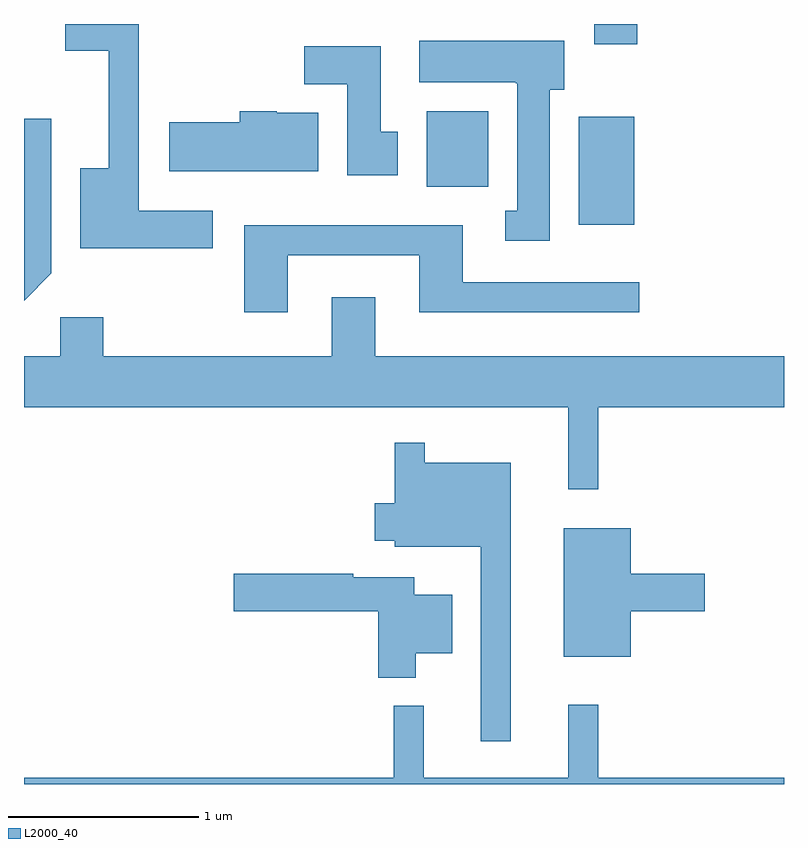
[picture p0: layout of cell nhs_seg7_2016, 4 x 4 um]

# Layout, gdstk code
import gdstk
lib = gdstk.Library(unit=1e-6, precision=1e-09)
def R(c, l, rs):  # rectangles x0, y0, x1, y1
    for r in rs: c.add(gdstk.rectangle(r[:2], r[2:], *l))
def P(c, l, *ps):  # polygons
    for p in ps: c.add(gdstk.Polygon(p, *l))
L2000_40 = (2000, 40)

nhs_seg7_2016 = lib.new_cell('nhs_seg7_2016')
R(nhs_seg7_2016, L2000_40, [(248.531,1795.196,248.824,1795.764), (247.731,1795.396,248.054,1795.794), (248.611,1796.146,248.839,1796.252)])
P(nhs_seg7_2016, L2000_40, [(246.604,1795.269),(246.214,1795.269),(246.214,1796.252),(245.828,1796.252),(245.828,1796.111),(246.056,1796.111),(246.056,1795.494),(245.906,1795.494),(245.906,1795.071),(246.604,1795.071)],
  [(248.379,1795.906),(248.454,1795.906),(248.454,1796.164),(247.691,1796.164),(247.691,1795.946),(248.2,1795.946),(248.2,1795.94),(248.206,1795.94),(248.206,1795.269),(248.143,1795.269),(248.143,1795.111),(248.379,1795.111)],
  [(247.579,1795.684),(247.489,1795.684),(247.489,1796.134),(247.086,1796.134),(247.086,1795.936),(247.311,1795.936),(247.311,1795.456),(247.579,1795.456)],
  [(247.159,1795.784),(246.94,1795.784),(246.94,1795.794),(246.746,1795.794),(246.746,1795.734),(246.376,1795.734),(246.376,1795.476),(247.159,1795.476)],
  [(245.754,1794.939),(245.754,1795.753),(245.611,1795.753),(245.611,1794.795)],
  [(246.999,1795.036),(247.691,1795.036),(247.691,1794.736),(248.848,1794.736),(248.848,1794.894),(247.919,1794.894),(247.919,1795.194),(246.771,1795.194),(246.771,1794.736),(246.999,1794.736)],
  [(248.634,1794.236),(249.611,1794.236),(249.611,1794.504),(247.459,1794.504),(247.459,1794.814),(247.231,1794.814),(247.231,1794.504),(246.029,1794.504),(246.029,1794.709),(245.801,1794.709),(245.801,1794.504),(245.611,1794.504),(245.611,1794.236),(248.476,1794.236),(248.476,1793.803),(248.634,1793.803)],
  [(248.174,1793.944),(247.719,1793.944),(247.719,1794.048),(247.561,1794.048),(247.561,1793.729),(247.456,1793.729),(247.456,1793.531),(247.561,1793.531),(247.561,1793.501),(248.016,1793.501),(248.016,1792.478),(248.174,1792.478)],
  [(248.804,1793.161),(249.194,1793.161),(249.194,1793.359),(248.804,1793.359),(248.804,1793.599),(248.451,1793.599),(248.451,1792.921),(248.804,1792.921)],
  [(247.674,1792.941),(247.864,1792.941),(247.864,1793.249),(247.664,1793.249),(247.664,1793.339),(247.344,1793.339),(247.344,1793.359),(246.716,1793.359),(246.716,1793.161),(247.476,1793.161),(247.476,1792.811),(247.674,1792.811)],
  [(249.611,1792.284),(248.634,1792.284),(248.634,1792.668),(248.476,1792.668),(248.476,1792.284),(247.714,1792.284),(247.714,1792.663),(247.556,1792.663),(247.556,1792.284),(245.611,1792.284),(245.611,1792.252),(249.611,1792.252)])

lib.write_gds('nhs_seg7_2016.gds')
